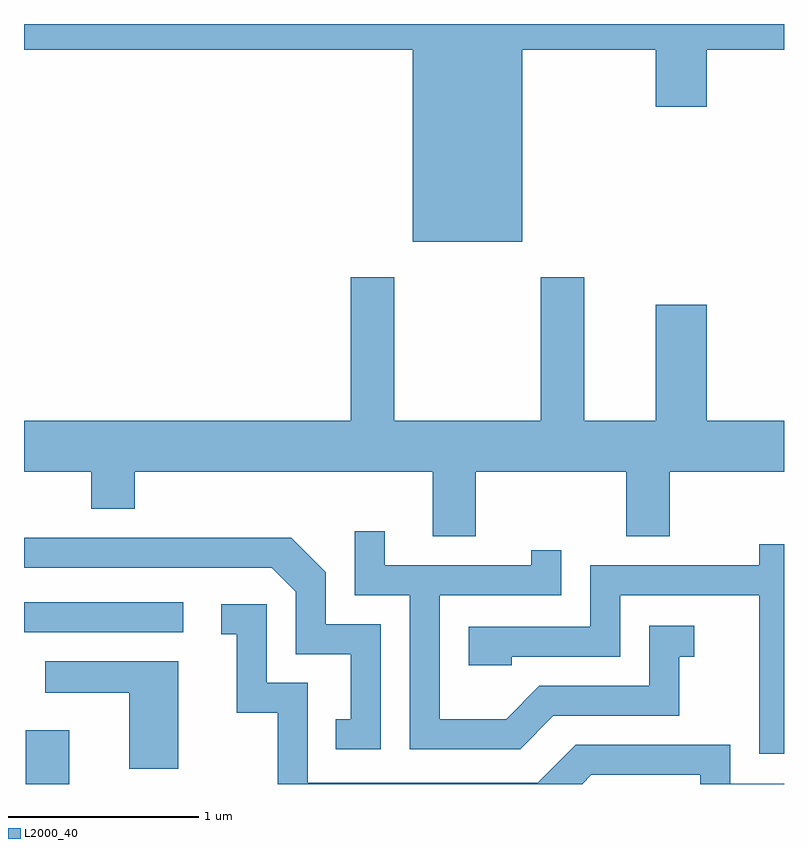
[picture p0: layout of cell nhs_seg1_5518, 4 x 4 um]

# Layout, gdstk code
import gdstk
lib = gdstk.Library(unit=1e-6, precision=1e-09)
def R(c, l, rs):  # rectangles x0, y0, x1, y1
    for r in rs: c.add(gdstk.rectangle(r[:2], r[2:], *l))
def P(c, l, *ps):  # polygons
    for p in ps: c.add(gdstk.Polygon(p, *l))
L2000_40 = (2000, 40)

nhs_seg1_5518 = lib.new_cell('nhs_seg1_5518')
R(nhs_seg1_5518, L2000_40, [(351.621,895.712,351.849,895.994), (351.611,896.511,352.448,896.669)])
P(nhs_seg1_5518, L2000_40, [(351.611,899.576),(353.656,899.576),(353.656,898.566),(354.234,898.566),(354.234,899.576),(354.936,899.576),(354.936,899.276),(355.204,899.276),(355.204,899.576),(355.611,899.576),(355.611,899.712),(351.611,899.712)],
  [(353.989,897.356),(354.781,897.356),(354.781,897.016),(355.009,897.016),(355.009,897.356),(355.611,897.356),(355.611,897.624),(355.204,897.624),(355.204,898.234),(354.936,898.234),(354.936,897.624),(354.559,897.624),(354.559,898.379),(354.331,898.379),(354.331,897.624),(353.559,897.624),(353.559,898.379),(353.331,898.379),(353.331,897.624),(351.611,897.624),(351.611,897.356),(351.966,897.356),(351.966,897.161),(352.194,897.161),(352.194,897.356),(353.761,897.356),(353.761,897.016),(353.989,897.016)],
  [(354.397,896.071),(355.059,896.071),(355.059,896.381),(355.138,896.381),(355.138,896.544),(354.901,896.544),(354.901,896.229),(354.324,896.229),(354.149,896.054),(353.799,896.054),(353.799,896.706),(354.439,896.706),(354.439,896.943),(354.281,896.943),(354.281,896.864),(353.509,896.864),(353.509,897.043),(353.351,897.043),(353.351,896.706),(353.641,896.706),(353.641,895.896),(354.222,895.896)],
  [(353.489,896.554),(353.199,896.554),(353.199,896.827),(353.017,897.009),(351.611,897.009),(351.611,896.851),(352.914,896.851),(353.041,896.724),(353.041,896.396),(353.331,896.396),(353.331,896.054),(353.253,896.054),(353.253,895.896),(353.489,895.896)],
  [(355.611,896.974),(355.481,896.974),(355.481,896.864),(354.591,896.864),(354.591,896.539),(353.951,896.539),(353.951,896.336),(354.179,896.336),(354.179,896.381),(354.749,896.381),(354.749,896.706),(355.481,896.706),(355.481,895.871),(355.611,895.871)],
  [(354.597,895.761),(355.171,895.761),(355.171,895.712),(355.611,895.712),(355.611,895.714),(355.329,895.714),(355.329,895.919),(354.514,895.919),(354.314,895.719),(353.104,895.719),(353.104,896.244),(352.889,896.244),(352.889,896.659),(352.648,896.659),(352.648,896.501),(352.731,896.501),(352.731,896.086),(352.946,896.086),(352.946,895.712),(354.548,895.712)],
  [(352.424,896.359),(351.723,896.359),(351.723,896.191),(352.166,896.191),(352.166,895.791),(352.424,895.791)])

lib.write_gds('nhs_seg1_5518.gds')
